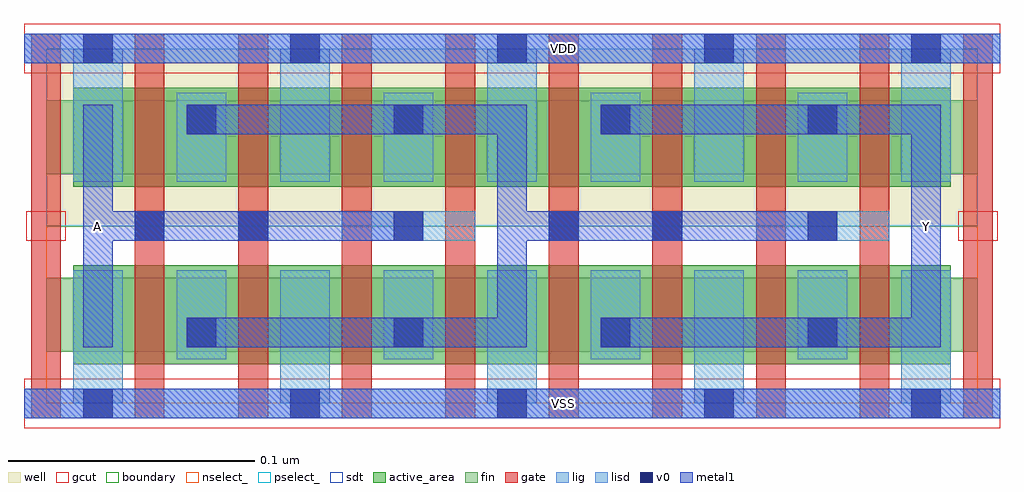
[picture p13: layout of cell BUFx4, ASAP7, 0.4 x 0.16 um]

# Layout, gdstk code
import gdstk
lib = gdstk.Library(unit=1e-6, precision=2.5e-10)
def R(c, l, rs):  # rectangles x0, y0, x1, y1
    for r in rs: c.add(gdstk.rectangle(r[:2], r[2:], *l))
def A(c, l, x, y, w, h, nx, ny, dx, dy):  # array of equal rectangles
    R(c, l, [(x+i*dx, y+j*dy, x+i*dx+w, y+j*dy+h) for i in range(nx) for j in range(ny)])
def P(c, l, *ps):  # polygons
    for p in ps: c.add(gdstk.Polygon(p, *l))
well = (1, 0)
fin = (2, 0)
gate = (7, 0)
gcut = (10, 0)
active_area = (11, 0)
nselect_ = (12, 0)
pselect_ = (13, 0)
lig = (16, 0)
lisd = (17, 0)
v0 = (18, 0)
metal1 = (19, 0)
sdt = (88, 0)
boundary = (100, 0)

bufx4 = lib.new_cell('BUFx4')
R(bufx4, well, [(0,0.072,0.378,0.144)])
R(bufx4, fin, [(0,0.021,0.378,0.051), (0,0.093,0.378,0.123)])
A(bufx4, gate, -0.006, -0.006, 0.012, 0.156, 10, 1, 0.042, 0)
R(bufx4, gcut, [(-0.009,-0.01,0.387,0.01), (-0.008,0.066,0.008,0.078), (0.37,0.066,0.386,0.078), (-0.009,0.134,0.387,0.154)])
R(bufx4, active_area, [(0.011,0.016,0.367,0.056), (0.011,0.088,0.367,0.128)])
R(bufx4, nselect_, [(0,0,0.378,0.072)])
R(bufx4, pselect_, [(0,0.072,0.378,0.144)])
R(bufx4, lig, [(-0.009,-0.006,0.387,0.006), (0.036,0.066,0.048,0.078), (0.078,0.066,0.09,0.078), (0.12,0.066,0.174,0.078), (0.204,0.066,0.216,0.078), (0.246,0.066,0.258,0.078), (0.288,0.066,0.342,0.078), (-0.009,0.138,0.387,0.15)])
A(bufx4, lisd, 0.011, 0, 0.02, 0.054, 5, 2, 0.084, 0.09)
A(bufx4, lisd, 0.053, 0.018, 0.02, 0.036, 4, 2, 0.084, 0.072)
A(bufx4, v0, 0.015, -0.006, 0.012, 0.012, 5, 2, 0.084, 0.144)
A(bufx4, v0, 0.057, 0.0227, 0.012, 0.012, 4, 2, 0.084, 0.0865)
A(bufx4, v0, 0.078, 0.066, 0.012, 0.012, 3, 1, 0.063, 0)
R(bufx4, v0, [(0.036,0.066,0.048,0.078), (0.246,0.066,0.258,0.078), (0.309,0.066,0.321,0.078)])
R(bufx4, metal1, [(-0.009,-0.006,0.387,0.006), (-0.009,0.138,0.387,0.15)])
P(bufx4, metal1, [(0.225,0.0348),(0.225,0.0227),(0.363,0.0227),(0.363,0.1212),(0.225,0.1212),(0.225,0.1092),(0.351,0.1092),(0.351,0.0348)],
  [(0.057,0.1092),(0.183,0.1092),(0.183,0.0348),(0.057,0.0348),(0.057,0.0227),(0.195,0.0227),(0.195,0.066),(0.321,0.066),(0.321,0.078),(0.195,0.078),(0.195,0.1212),(0.057,0.1212)],
  [(0.015,0.0227),(0.027,0.0227),(0.027,0.066),(0.153,0.066),(0.153,0.078),(0.027,0.078),(0.027,0.1212),(0.015,0.1212)])
A(bufx4, sdt, 0.011, 0.021, 0.02, 0.03, 9, 2, 0.042, 0.072)
R(bufx4, boundary, [(0,0,0.378,0.144)])
bufx4.add(gdstk.Label('Y', (0.357,0.072), layer=19, texttype=251))
bufx4.add(gdstk.Label('A', (0.021,0.072), layer=19, texttype=251))
bufx4.add(gdstk.Label('VSS', (0.21,0), layer=19, texttype=251))
bufx4.add(gdstk.Label('VDD', (0.21,0.144), layer=19, texttype=251))

lib.write_gds('BUFx4.gds')
